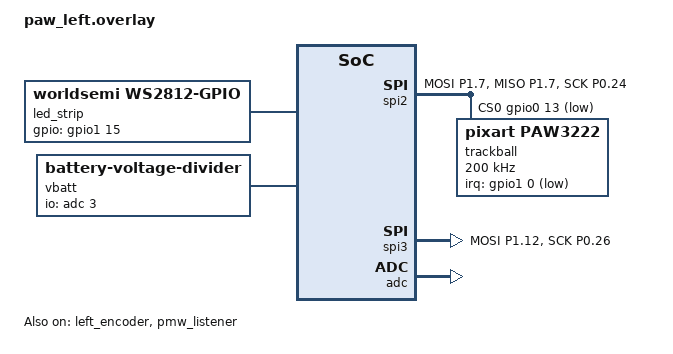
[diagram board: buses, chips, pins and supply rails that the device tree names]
/*
 * Copyright (c) 2020 ZMK Contributors
 *
 * SPDX-License-Identifier: MIT
 */

#include "paw.dtsi"
#include <dt-bindings/led/led.h>

/* ---- DYA Studio: Runtime Input Processor 的 include ------------------------
 * 这三行必须放在 `#include "paw.dtsi"` **之后**，不能挪到 paw.dtsi 顶部。
 *
 * 因为 <input/processors/runtime-input-processor.dtsi> 会
 *   #include <dt-bindings/zmk/keys.h>  -> modifiers.h -> #define RC(keycode)
 * 而 paw.dtsi 里的矩阵表用的是
 *   dt-bindings/zmk/matrix_transform.h -> #define RC(row, col)
 * 两个 RC 同名。上面那行 include 会先把 paw.dtsi 整个处理完（矩阵表已经展开成
 * 数字），之后 keys.h 再来重定义 RC 就没影响了。
 *
 * 反过来（放 paw.dtsi 顶部）会直接编译失败：
 *   error: macro "RC" passed 2 arguments, but takes just 1
 * —— 2026-10-02 那次 CI 就是栽在这里。
 *
 * 文件里后面那些节点都不再用矩阵的 RC(...)，所以是安全的。
 */
#include <dt-bindings/input/input-event-codes.h>
#include <input/processors.dtsi>
#include <input/processors/runtime-input-processor.dtsi>

/ { chosen {
        zmk,underglow = &led_strip;
    };
};

&kscan0 {
        col-gpios
                = <&gpio1 11 (GPIO_ACTIVE_HIGH | GPIO_PULL_DOWN)>
                , <&gpio1 10 (GPIO_ACTIVE_HIGH | GPIO_PULL_DOWN)>
                , <&gpio0 03 (GPIO_ACTIVE_HIGH | GPIO_PULL_DOWN)>
                , <&gpio0 28 (GPIO_ACTIVE_HIGH | GPIO_PULL_DOWN)>
                , <&gpio1 13 (GPIO_ACTIVE_HIGH | GPIO_PULL_DOWN)>
                , <&gpio0 10 (GPIO_ACTIVE_HIGH | GPIO_PULL_DOWN)>
                ;
};

&left_encoder {
    status = "okay";
};

&pinctrl {
    spi2_default: spi2_default {
        group1 {
            psels = <NRF_PSEL(SPIM_MOSI, 1, 7)>,
                    <NRF_PSEL(SPIM_MISO, 1, 7)>,
                    <NRF_PSEL(SPIM_SCK, 0, 24)>;
        };
    };
    spi2_sleep: spi2_sleep {
        group1 {
            psels = <NRF_PSEL(SPIM_MOSI, 1, 7)>,
                    <NRF_PSEL(SPIM_MISO, 1, 7)>,
                    <NRF_PSEL(SPIM_SCK, 0, 24)>;
            low-power-enable;
        };
    };
    spi3_default: spi3_default {
        group1 {
            psels = <NRF_PSEL(SPIM_MOSI, 1, 12)>,
                    <NRF_PSEL(SPIM_SCK, 0, 26)>;
        };
    };
    spi3_sleep: spi3_sleep {
        group1 {
            psels = <NRF_PSEL(SPIM_MOSI, 1, 12)>,
                    <NRF_PSEL(SPIM_SCK, 0, 26)>;
            low-power-enable;
        };
    };
};

&spi2 {
    status = "okay";
    compatible = "nordic,nrf-spim";
    pinctrl-0 = <&spi2_default>;
    pinctrl-1 = <&spi2_sleep>;
    pinctrl-names = "default", "sleep";
    cs-gpios = <&gpio0 13 GPIO_ACTIVE_LOW>;
    trackball: trackball@0 {
        status = "okay";
        compatible = "pixart,paw3222";
        reg = <0>;
        spi-max-frequency = <200000>;
        irq-gpios = <&gpio1 0 GPIO_ACTIVE_LOW>;
    };
};

&spi3 {
    compatible = "nordic,nrf-spim";
    pinctrl-0 = <&spi3_default>;
    pinctrl-1 = <&spi3_sleep>;
    pinctrl-names = "default", "sleep";
    cs-gpios = <&gpio1 14 (GPIO_ACTIVE_HIGH | GPIO_PULL_DOWN)>;
};

nice_view_spi: &spi3 {
    compatible = "nordic,nrf-spim";
    pinctrl-0 = <&spi3_default>;
    pinctrl-1 = <&spi3_sleep>;
    pinctrl-names = "default", "sleep";
    cs-gpios = <&gpio1 14 (GPIO_ACTIVE_HIGH | GPIO_PULL_DOWN)>;
};

lpm_view_spi: &spi3 {
    compatible = "nordic,nrf-spim";
    pinctrl-0 = <&spi3_default>;
    pinctrl-1 = <&spi3_sleep>;
    pinctrl-names = "default", "sleep";
    cs-gpios = <&gpio1 14 (GPIO_ACTIVE_HIGH | GPIO_PULL_DOWN)>;
};

/* ---- DYA Studio: 中央侧（本半）轨迹球的 processor --------------------------
 * 左半自己的 PAW3222 走 trackball_listener 这条路径，processor 挂在这里。
 * 右半构建不会引用鼠标/滚动这两个默认 processor 节点，
 * 模块里它们是 /omit-if-no-ref/ 的，会被整个丢掉（省 RAM、也不会有重名 label）。
 */
&trackball_listener {
    input-processors = <&mouse_runtime_input_processor>;
};

/* ---- DYA Studio: 非中央侧（右半）的轨迹球经 split 送来，在这里挂 processor ----
 * 右半的 PAW3222 是通过 &pmw_split { device = <&trackball>; } 直接把
 * 传感器事件转发到中央侧的，绕过了 input-listener，所以在右半的
 * trackball_listener 上挂 processor 对这条流不生效。
 * 要让 DYA Studio 能调右半轨迹球，必须在中央侧的 pmw_listener 上挂。
 *
 * 注意：这里刻意用独立的 processor 节点（而不是共用
 * mouse_runtime_input_processor），避免两条事件流共用同一份
 * scale/inertia/axis-snap 状态，也让 Studio 里两个 processor 能分别调。
 *
 * processor-label 在 binding 里是 **required**（zmk,input-processor-runtime），
 * 且类型说明写着 "max 8 chars for BLE compatibility"。
 * 这里取 6 个字符 tsplit，避免 8 字符是否含结尾符 NUL 的歧义。
 */
/ {
    trackball_split_runtime_input_processor: trackball_split_runtime_input_processor {
        compatible = "zmk,input-processor-runtime";
        processor-label = "tsplit";
        type = <INPUT_EV_REL>;
        x-codes = <INPUT_REL_X>;
        y-codes = <INPUT_REL_Y>;
        scale-multiplier = <1>;
        scale-divisor = <1>;
        rotation-degrees = <0>;
        track-remainders;

        /* 与模块自带的默认节点保持一致，这样 temp-layer（用轨迹球自动切层）
         * 在 DYA Studio 里打开时行为和 mouse_runtime_input_processor 一样 */
        temp-layer-transparent-behavior = <&trans>;
        temp-layer-kp-behavior = <&kp>;
        temp-layer-keep-keycodes = <LEFT_CONTROL LEFT_SHIFT LEFT_ALT LEFT_GUI RIGHT_CONTROL RIGHT_SHIFT RIGHT_ALT RIGHT_GUI>;

        #input-processor-cells = <0>;
    };
};

&pmw_listener {
    status = "okay";
    input-processors = <&trackball_split_runtime_input_processor>;
};

&left_listener {
    device = <&trackball>;
};

/ {
    led_strip: ws2812 {
        compatible = "worldsemi,ws2812-gpio";
        gpios = <&gpio1 15 GPIO_ACTIVE_HIGH>;
        chain-length = <28>;
        color-mapping = <LED_COLOR_ID_GREEN LED_COLOR_ID_RED LED_COLOR_ID_BLUE>;
    };
};

&adc {
    status = "okay";
};

/* battery-fix (AIN3):
 * 恢复外部分压测量，并把通道改成正确的 AIN2。
 *
 * 硬件（见原理图）：SW_OUT --[R2 806k]-- battery_adc_pin --[R3 2M]-- GND
 *   分压比 = R3/(R2+R3) = 2000000/2806000 = 0.7126
 *   3.78V 电池 -> 分压点约 2.69V
 *   所以 output-ohms 必须是 R3，full-ohms 必须是 R2+R3：
 *       output-ohms = <2000000>;
 *       full-ohms   = <2806000>;
 *
 * 之前的两处错误：
 *   1) io-channels = <&adc 12> —— 12 是芯片【内部】的 VDDH/5 通道。
 *      这块板子的 VDDH 是稳压过的 ~3.3V，代入 ZMK 的百分比公式
 *      (mv*2/15-459) 得到负数 -> 百分比恒为 0。
 *   2) 曾改成 zmk,battery-nrf-vddh（直接测 VDDH）—— 同样是测错了地方。
 *
 * 现在改成 AIN3 = P0.05（nice!nano v1 的电池脚；这块板子的分压电阻值
 * 与 v1 完全一致，说明是照 v1 的电路画的）。
 *
 * 若读数仍不合理，把 &adc 3 换成 &adc 2（AIN2 = P0.04），
 * 它是这块板子上唯一另一个空闲的模拟脚。
 */

/ {
    vbatt: vbatt {
        compatible = "zmk,battery-voltage-divider";
        io-channels = <&adc 3>;
        output-ohms = <2000000>;
        full-ohms = <2806000>;
    };
};
